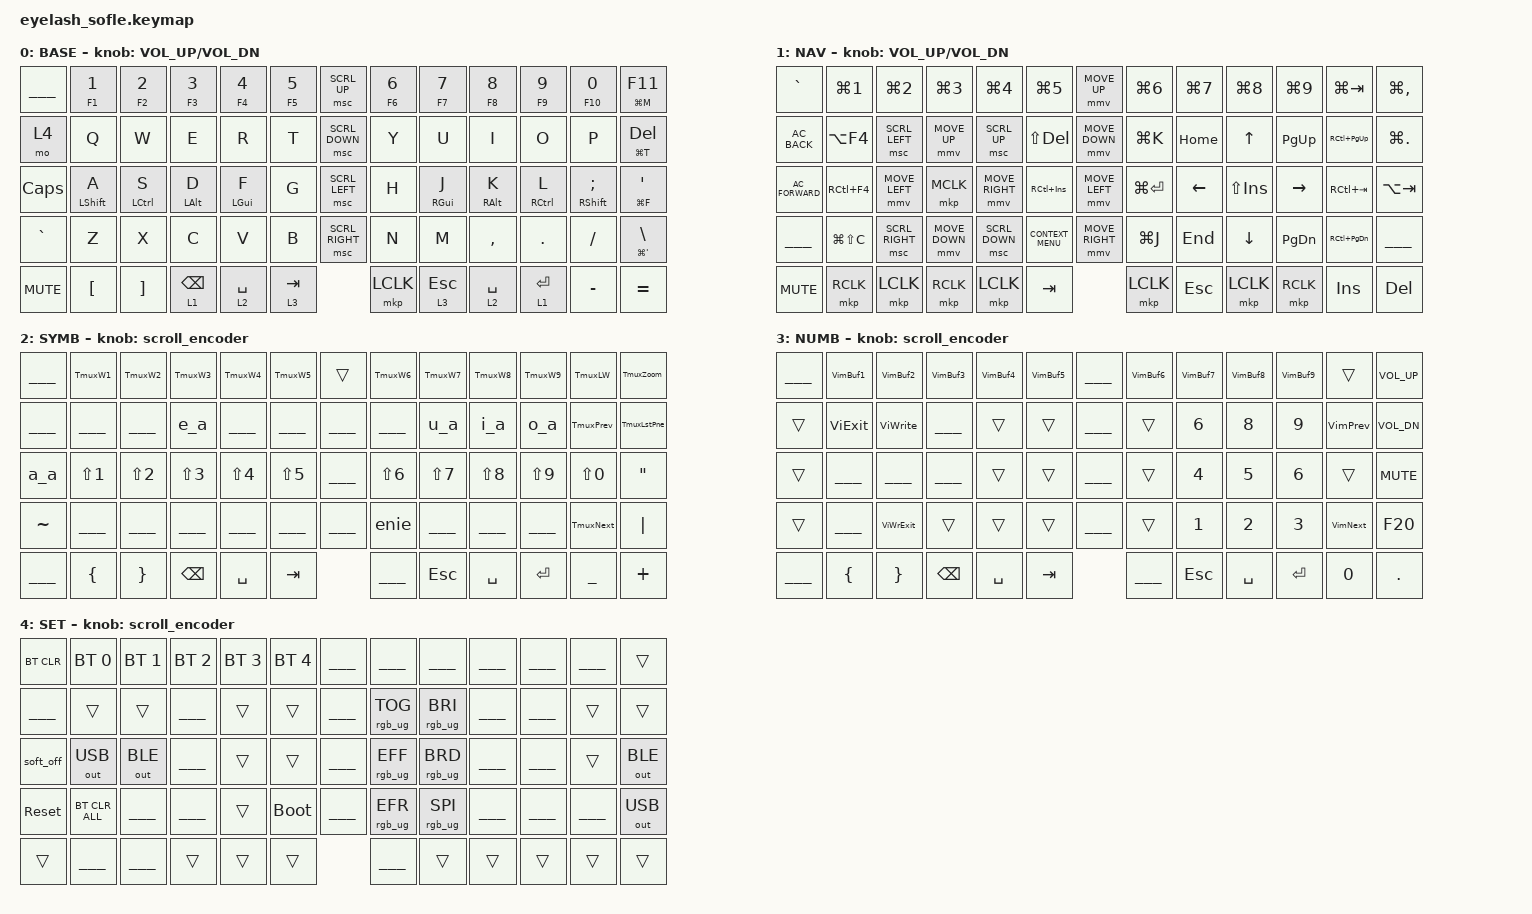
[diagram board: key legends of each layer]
#include <input/processors.dtsi>
#include <zephyr/dt-bindings/input/input-event-codes.h>
#include <behaviors.dtsi>
#include <dt-bindings/zmk/bt.h>
#include <dt-bindings/zmk/keys.h>
#include <dt-bindings/zmk/outputs.h>
#include <dt-bindings/zmk/pointing.h>
#include <dt-bindings/zmk/rgb.h>
// no estoy seguro de que sea correcto, pero lo agrego por si acaso:
#include <dt-bindings/zmk/ext_power.h>


// Para poner una tecla en la configuracion que no toma ninguna accion.
# define ___ none

// Mouse:
// Velocidad:
//#define ZMK_POINTING_DEFAULT_MOVE_VAL 1200  // 600
#define ZMK_POINTING_DEFAULT_MOVE_VAL 600
//#define ZMK_POINTING_DEFAULT_SCRL_VAL 25   // 10
#define ZMK_POINTING_DEFAULT_SCRL_VAL 10
&mmv_input_listener { input-processors = <&zip_xy_scaler 2 1>; };
&msc_input_listener { input-processors = <&zip_scroll_scaler 2 1>; };
&msc {
	acceleration-exponent = <1>;      // 0
	time-to-max-speed-ms = <100>;       // 300
	delay-ms = <0>;                   // 0
};
&mmv {
	time-to-max-speed-ms = <500>;
	acceleration-exponent = <1>;
	trigger-period-ms = <16>;
};

// Tiempo que debe mantenerse apreteada la tecla de soft_off para que apague el teclado: 2seg.
&soft_off { hold-time-ms = <2000>; };


/ {

	scroll_encoder: scroll_encoder {
		compatible = "zmk,behavior-sensor-rotate";
		#sensor-binding-cells = <0>;
		bindings = <&msc SCRL_DOWN>, <&msc SCRL_UP>;
		tap-ms = <100>;
	};

	behaviors {
	// https://zmk.dev/docs/keymaps/behaviors/hold-tap

		lt: layer_tap {
			compatible = "zmk,behavior-hold-tap";
			#binding-cells = <2>;
			flavor = "tap-preferred";
			tapping-term-ms = <200>;
			bindings = <&mo>, <&kp>;
			display-name = "Layer-Tap";
		};

		hm: homerow_mods {
			compatible = "zmk,behavior-hold-tap";
			#binding-cells = <2>;
			tapping-term-ms = <200>;
			quick-tap-ms = <0>;
			flavor = "balanced";
			bindings = <&kp>, <&kp>;
		};

		mt: mod_tap {
			compatible = "zmk,behavior-hold-tap";
			#binding-cells = <2>;
			flavor = "hold-preferred";
			tapping-term-ms = <200>;
			bindings = <&kp>, <&kp>;
			display-name = "Mod-Tap";
		};

		// hold and Tap (between Normal keys)
		ht: Hold_tap {
			compatible = "zmk,behavior-hold-tap";
			#binding-cells = <2>;
			flavor = "tap-preferred";
			tapping-term-ms = <200>;
			bindings = <&kp>, <&kp>;
		};
	};

	macros {

		TmuxW1: TmuxW1 {
			compatible = "zmk,behavior-macro";
			#binding-cells = <0>;
			bindings =
				<&macro_tap &kp LC(LA(A))>,
				<&macro_tap &kp N1>;
		};
		TmuxW2: TmuxW2 {
			compatible = "zmk,behavior-macro";
			#binding-cells = <0>;
			bindings =
				<&macro_tap &kp LC(LA(A))>,
				<&macro_tap &kp N2>;
		};
		TmuxW3: TmuxW3 {
			compatible = "zmk,behavior-macro";
			#binding-cells = <0>;
			bindings =
				<&macro_tap &kp LC(LA(A))>,
				<&macro_tap &kp N3>;
		};
		TmuxW4: TmuxW4 {
			compatible = "zmk,behavior-macro";
			#binding-cells = <0>;
			bindings =
				<&macro_tap &kp LC(LA(A))>,
				<&macro_tap &kp N4>;
		};
		TmuxW5: TmuxW5 {
			compatible = "zmk,behavior-macro";
			#binding-cells = <0>;
			bindings =
				<&macro_tap &kp LC(LA(A))>,
				<&macro_tap &kp N5>;
		};
		TmuxW6: TmuxW6 {
			compatible = "zmk,behavior-macro";
			#binding-cells = <0>;
			bindings =
				<&macro_tap &kp LC(LA(A))>,
				<&macro_tap &kp N6>;
		};
		TmuxW7: TmuxW7 {
			compatible = "zmk,behavior-macro";
			#binding-cells = <0>;
			bindings =
				<&macro_tap &kp LC(LA(A))>,
				<&macro_tap &kp N7>;
		};
		TmuxW8: TmuxW8 {
			compatible = "zmk,behavior-macro";
			#binding-cells = <0>;
			bindings =
				<&macro_tap &kp LC(LA(A))>,
				<&macro_tap &kp N8>;
		};
		TmuxW9: TmuxW9 {
			compatible = "zmk,behavior-macro";
			#binding-cells = <0>;
			bindings =
				<&macro_tap &kp LC(LA(A))>,
				<&macro_tap &kp N9>;
		};
		TmuxLW: TmuxLW {
			compatible = "zmk,behavior-macro";
			#binding-cells = <0>;
			bindings =
				<&macro_tap &kp LC(LA(A))>,
				<&macro_tap &kp LC(LA(A))>;
		};
		TmuxZoom: TmuxZoom {
			compatible = "zmk,behavior-macro";
			#binding-cells = <0>;
			bindings =
				<&macro_tap &kp LC(LA(A))>,
				<&macro_tap &kp Z>;
		};
		TmuxPrev: TmuxPrev {
			compatible = "zmk,behavior-macro";
			#binding-cells = <0>;
			bindings =
				<&macro_tap &kp LC(LA(A))>,
				<&macro_tap &kp P>;
		};
		TmuxNext: TmuxNext {
			compatible = "zmk,behavior-macro";
			#binding-cells = <0>;
			bindings =
				<&macro_tap &kp LC(LA(A))>,
				<&macro_tap &kp N>;
		};
		TmuxLstPne: TmuxLstPne {
			compatible = "zmk,behavior-macro";
			#binding-cells = <0>;
			bindings =
				<&macro_tap &kp LC(LA(A))>,
				<&macro_tap &kp SEMI>;
		};
		VimBuf1: VimBuf1 {
			compatible = "zmk,behavior-macro";
			#binding-cells = <0>;
			bindings =
				<&macro_tap &kp ESC>,
				<&macro_tap &kp COLON>,
				<&macro_tap &kp B>,
				<&macro_tap &kp N1>,
				<&macro_tap &kp ENTER>;
		};
		VimBuf2: VimBuf2 {
			compatible = "zmk,behavior-macro";
			#binding-cells = <0>;
			bindings =
				<&macro_tap &kp ESC>,
				<&macro_tap &kp COLON>,
				<&macro_tap &kp B>,
				<&macro_tap &kp N2>,
				<&macro_tap &kp ENTER>;
		};
		VimBuf3: VimBuf3 {
			compatible = "zmk,behavior-macro";
			#binding-cells = <0>;
			bindings =
				<&macro_tap &kp ESC>,
				<&macro_tap &kp COLON>,
				<&macro_tap &kp B>,
				<&macro_tap &kp N3>,
				<&macro_tap &kp ENTER>;
		};
		VimBuf4: VimBuf4 {
			compatible = "zmk,behavior-macro";
			#binding-cells = <0>;
			bindings =
				<&macro_tap &kp ESC>,
				<&macro_tap &kp COLON>,
				<&macro_tap &kp B>,
				<&macro_tap &kp N4>,
				<&macro_tap &kp ENTER>;
		};
		VimBuf5: VimBuf5 {
			compatible = "zmk,behavior-macro";
			#binding-cells = <0>;
			bindings =
				<&macro_tap &kp ESC>,
				<&macro_tap &kp COLON>,
				<&macro_tap &kp B>,
				<&macro_tap &kp N5>,
				<&macro_tap &kp ENTER>;
		};
		VimBuf6: VimBuf6 {
			compatible = "zmk,behavior-macro";
			#binding-cells = <0>;
			bindings =
				<&macro_tap &kp ESC>,
				<&macro_tap &kp COLON>,
				<&macro_tap &kp B>,
				<&macro_tap &kp N6>,
				<&macro_tap &kp ENTER>;
		};
		VimBuf7: VimBuf7 {
			compatible = "zmk,behavior-macro";
			#binding-cells = <0>;
			bindings =
				<&macro_tap &kp ESC>,
				<&macro_tap &kp COLON>,
				<&macro_tap &kp B>,
				<&macro_tap &kp N7>,
				<&macro_tap &kp ENTER>;
		};
		VimBuf8: VimBuf8 {
			compatible = "zmk,behavior-macro";
			#binding-cells = <0>;
			bindings =
				<&macro_tap &kp ESC>,
				<&macro_tap &kp COLON>,
				<&macro_tap &kp B>,
				<&macro_tap &kp N8>,
				<&macro_tap &kp ENTER>;
		};
		VimBuf9: VimBuf9 {
			compatible = "zmk,behavior-macro";
			#binding-cells = <0>;
			bindings =
				<&macro_tap &kp ESC>,
				<&macro_tap &kp COLON>,
				<&macro_tap &kp B>,
				<&macro_tap &kp N9>,
				<&macro_tap &kp ENTER>;
		};
		VimPrev: VimPrev {
			compatible = "zmk,behavior-macro";
			#binding-cells = <0>;
			bindings =
				<&macro_tap &kp ESC>,
				<&macro_tap &kp COLON>,
				<&macro_tap &kp B>,
				<&macro_tap &kp P>,
				<&macro_tap &kp ENTER>;
		};
		VimNext: VimNext {
			compatible = "zmk,behavior-macro";
			#binding-cells = <0>;
			bindings =
				<&macro_tap &kp ESC>,
				<&macro_tap &kp COLON>,
				<&macro_tap &kp B>,
				<&macro_tap &kp N>,
				<&macro_tap &kp ENTER>;
		};
		ViWrite: ViWrite {
			compatible = "zmk,behavior-macro";
			#binding-cells = <0>;
			bindings =
				<&macro_tap &kp ESC>,
				<&macro_tap &kp COLON>,
				<&macro_tap &kp U>,
				<&macro_tap &kp P>,
				<&macro_tap &kp ENTER>;
		};
		ViExit: ViExit {
			compatible = "zmk,behavior-macro";
			#binding-cells = <0>;
			bindings =
				<&macro_tap &kp ESC>,
				<&macro_tap &kp COLON>,
				<&macro_tap &kp Q>,
				<&macro_tap &kp EXCLAMATION>,
				<&macro_tap &kp ENTER>;
		};
		ViWrExit: ViWrExit {
			compatible = "zmk,behavior-macro";
			#binding-cells = <0>;
			bindings =
				<&macro_tap &kp ESC>,
				<&macro_tap &kp COLON>,
				<&macro_tap &kp W>,
				<&macro_tap &kp Q>,
				<&macro_tap &kp EXCLAMATION>,
				<&macro_tap &kp ENTER>;
		};
		enie: enie {
			compatible = "zmk,behavior-macro";
			#binding-cells = <0>;
			wait-ms = <10>;
			tap-ms = <10>;
			bindings =
				<&macro_press &kp LCTRL>,
				<&macro_press &kp LSHFT>,
				<&macro_tap &kp U>,
				<&macro_release &kp LSHFT>,
				<&macro_release &kp LCTRL>,
				<&macro_tap &kp N0>,
				<&macro_tap &kp N0>,
				<&macro_tap &kp F>,
				<&macro_tap &kp N1>,
				<&macro_tap &kp ENTER>;
		};
		a_a: a_a {
			compatible = "zmk,behavior-macro";
			#binding-cells = <0>;
			wait-ms = <10>;
			tap-ms = <10>;
			bindings =
				<&macro_press &kp LCTRL>,
				<&macro_press &kp LSHFT>,
				<&macro_tap &kp U>,
				<&macro_release &kp LSHFT>,
				<&macro_release &kp LCTRL>,
				<&macro_tap &kp N0>,
				<&macro_tap &kp N0>,
				<&macro_tap &kp E>,
				<&macro_tap &kp N1>,
				<&macro_tap &kp ENTER>;
		};
		e_a: e_a {
			compatible = "zmk,behavior-macro";
			#binding-cells = <0>;
			wait-ms = <10>;
			tap-ms = <10>;
			bindings =
				<&macro_press &kp LCTRL>,
				<&macro_press &kp LSHFT>,
				<&macro_tap &kp U>,
				<&macro_release &kp LSHFT>,
				<&macro_release &kp LCTRL>,
				<&macro_tap &kp N0>,
				<&macro_tap &kp N0>,
				<&macro_tap &kp E>,
				<&macro_tap &kp N9>,
				<&macro_tap &kp ENTER>;
		};
		i_a: i_a {
			compatible = "zmk,behavior-macro";
			#binding-cells = <0>;
			wait-ms = <10>;
			tap-ms = <10>;
			bindings =
				<&macro_press &kp LCTRL>,
				<&macro_press &kp LSHFT>,
				<&macro_tap &kp U>,
				<&macro_release &kp LSHFT>,
				<&macro_release &kp LCTRL>,
				<&macro_tap &kp N0>,
				<&macro_tap &kp N0>,
				<&macro_tap &kp E>,
				<&macro_tap &kp D>,
				<&macro_tap &kp ENTER>;
		};
		o_a: o_a {
			compatible = "zmk,behavior-macro";
			#binding-cells = <0>;
			wait-ms = <10>;
			tap-ms = <10>;
			bindings =
				<&macro_press &kp LCTRL>,
				<&macro_press &kp LSHFT>,
				<&macro_tap &kp U>,
				<&macro_release &kp LSHFT>,
				<&macro_release &kp LCTRL>,
				<&macro_tap &kp N0>,
				<&macro_tap &kp N0>,
				<&macro_tap &kp F>,
				<&macro_tap &kp N3>,
				<&macro_tap &kp ENTER>;
		};
		u_a: u_a {
			compatible = "zmk,behavior-macro";
			#binding-cells = <0>;
			wait-ms = <10>;
			tap-ms = <10>;
			bindings =
				<&macro_press &kp LCTRL>,
				<&macro_press &kp LSHFT>,
				<&macro_tap &kp U>,
				<&macro_release &kp LSHFT>,
				<&macro_release &kp LCTRL>,
				<&macro_tap &kp N0>,
				<&macro_tap &kp N0>,
				<&macro_tap &kp F>,
				<&macro_tap &kp A>,
				<&macro_tap &kp ENTER>;
		};
	};


	keymap {
		compatible = "zmk,keymap";

		// Qwerty Layer0:
		layer0 {
			bindings = <
			/* Pendientes Layer0:
			.--------.--------.--------.--------.--------.--------.                                    .--------.--------.--------.---------.--------.--------.
			| Vim_5  |        |        |        |        |        |                                    |        |        |        |         |        | F11    |
			|        |        |        |        |        |        |                                    |        |        |        |         |        |dwmFull | Este ya deberia estar.
			|--------+--------+--------+--------+--------+--------|                                    |--------+--------+--------+---------+--------+--------|
			|        |        |        |        |        |        |                                    |        |        |        |         |        | Del    | Este ya deberia estar.
			|        |        |        |        |        |        |                                    |        |        |        |         |        |dwmTiled|
			|--------+--------+--------+--------+--------+--------|                                    |--------+--------+--------+---------+--------+--------|
			|        |        |        |        |        |        |                                    |        |        |        |         |        | ' "    |
			|        |        |        |        |        |        |                                    |        |        |        |         |        |dwmFloat| Ya deberia estar.
			|--------+--------+--------+--------+--------+--------|                                    |--------+--------+--------+---------+--------+--------|
			|        |        |        |        |        |        |                                    |        |        |        |         |        | \ |    |este ya deberia estar.
			|        |        |        |        |        |        |                                    |        |        |        |         |        |dwmgap  |
			'--------'--------+--------+--------+--------'--------'                                    '--------'--------+--------+---------+--------'--------'
			|                 |        |        |.--------.--------.--------.                .--------.--------.--------.|        |         |
			|                 |        |        ||        |        |        |                |        |        |        ||        |         |
			|                 '--------'--------'|        |        |        |                |        |        |        |'--------'---------'
			|                                    '--------'--------'--------'                '--------'--------'--------' */

			// ╭─────────┬────────────┬────────────────┬─────────────────┬───────────────┬───────────╮             ╭───────────────╮       ╭───────────┬───────────┬──────────┬───────────┬───────────────┬─────────────────╮
				 &___      &ht F1 N1    &ht F2 N2        &ht F3 N3         &ht F4 N4       &ht F5 N5                 &msc SCRL_UP            &ht F6 N6   &ht F7 N7   &ht F8 N8  &ht F9 N9   &ht F10 N0      &ht LG(M) F11
			// ├─────────┼────────────┼────────────────┼─────────────────┼───────────────┼───────────┤             ├───────────────┤       ├───────────┼───────────┼──────────┼───────────┼───────────────┼─────────────────┤
				 &mo 4     &kp Q        &kp W            &kp E             &kp R           &kp T                     &msc SCRL_DOWN          &kp Y       &kp U       &kp I      &kp O       &kp P           &ht LG(T) DELETE
			// ├─────────┼────────────┼────────────────┼─────────────────┼───────────────┼───────────┤             ├───────────────┤       ├───────────┼───────────┼──────────┼───────────┼───────────────┼─────────────────┤
				 &kp CAPS  &hm LSHIFT A &hm LCTRL S      &hm LALT D        &hm LGUI F      &kp G                     &msc SCRL_LEFT          &kp H       &hm RGUI J  &hm RALT K &hm RCTRL L &hm RSHIFT SEMI &ht LG(F) APOS
			// ├─────────┼────────────┼────────────────┼─────────────────┼───────────────┼───────────┤             ├───────────────┤       ├───────────┼───────────┼──────────┼───────────┼───────────────┼─────────────────┤
				 &kp GRAVE &kp Z        &kp X            &kp C             &kp V           &kp B                     &msc SCRL_RIGHT         &kp N       &kp M       &kp COMMA  &kp DOT     &kp FSLH        &ht LG(APOS) BSLH
			// ╰┬────────┴─┬──────────┼────────────────┼─────────────────┼───────────────┼───────────┼─────────╮   ┼──────────╮╭───────────┼───────────┼───────────┼──────────┼───────────┼───────────────┼─────────────────╯
				  &kp C_MUTE            &kp LEFT_BRACKET &kp RIGHT_BRACKET &lt 1 BACKSPACE &lt 2 SPACE &lt 3 TAB     &mkp LCLK    &lt 3 ESC  &lt 2 SPACE &lt 1 ENTER &kp MINUS  &kp EQUAL
			//  ╰──────────╯          ╰────────────────┴─────────────────┴───────────────┴───────────┴─────────╯   ╰──────────╯╰───────────┴───────────┴───────────┴──────────┴───────────╯
			//  ENCODER PRESS                                                                                       HAT PRESS
			>;
			sensor-bindings = <&inc_dec_kp C_VOLUME_UP C_VOL_DN>;
			//display-name = "L0";
			display-name = "BASE";
		};

		// Navigation Layer1:
		layer_1 {
			bindings = <
			/* + _Navegation Layer1: Apps Navigation / dwm (verde) Pendientes:
			.-----------.-----------.-----------.-----------.-----------.-----------.                          .-----------.-----------.-----------.-----------.-----------.-----------.
			|           |           |           |           |           |           |                          |           |           |           |           |           |           |
			|-----------+-----------+-----------+-----------+-----------+-----------|                          |-----------+-----------+-----------+-----------+-----------+-----------|
			|           |           |           |           |           |           |                          |           |           |           |           |           |           |
			|-----------+-----------+-----------+-----------+-----------+-----------|                          |-----------+-----------+-----------+-----------+-----------+-----------|
			|           |           |           |           |           |           |                          |           |           |           |           |           |           |
			|-----------+-----------+-----------+-----------+-----------+-----------|                          |-----------+-----------+-----------+-----------+-----------+-----------|
			|           |           |           |           |           | Menu KC_app|ya deberia estar          |           |           |           |           |           |           |
			'-----------'-----------+-----------+-----------+-----------'-----------'                          '-----------'-----------+-----------+-----------+-----------'-----------'
			|                       |           |           |.-----------.-----------.--------.      .--------.-----------.-----------.|           |           |
			|                       |           |           ||           |           |        |      |        |           |           ||           |           |
			|                       '-----------'-----------'|           |           |        |      |        |           |           |'-----------'-----------'
			|                                                '-----------'-----------'--------'      '--------'-----------'-----------' */
			// Configuracion L1 Row 1
			// ╭────────────────┬─────────────┬───────────────┬──────────────┬───────────────┬──────────────────╮          ╭───────────────╮       ╭──────────────┬─────────────┬──────────────┬─────────────┬───────────────┬─────────────╮
				 &kp GRAVE        &kp LG(N1)    &kp LG(N2)      &kp LG(N3)     &kp LG(N4)      &kp LG(N5)                    &mmv MOVE_UP            &kp LG(N6)     &kp LG(N7)    &kp LG(N8)     &kp LG(N9)    &kp LG(TAB)     &kp LG(COMMA)
			// ├────────────────┼─────────────┼───────────────┼──────────────┼───────────────┼──────────────────┤          ├───────────────┤       ├──────────────┼─────────────┼──────────────┼─────────────┼───────────────┼─────────────┤
				 &kp C_AC_BACK    &kp LA(F4)    &msc SCRL_LEFT  &mmv MOVE_UP   &msc SCRL_UP    &kp LS(DELETE)                &mmv MOVE_DOWN          &kp LG(K)      &kp HOME      &kp UP         &kp PG_UP     &kp RC(PG_UP)   &kp LG(DOT)
			// ├────────────────┼─────────────┼───────────────┼──────────────┼───────────────┼──────────────────┤          ├───────────────┤       ├──────────────┼─────────────┼──────────────┼─────────────┼───────────────┼─────────────┤
				 &kp C_AC_FORWARD &kp RC(F4)    &mmv MOVE_LEFT  &mkp MCLK      &mmv MOVE_RIGHT &kp RC(INSERT)                &mmv MOVE_LEFT          &kp LG(ENTER)  &kp LEFT      &kp LS(INSERT) &kp RIGHT     &kp RC(TAB)     &kp LA(TAB)
			// ├────────────────┼─────────────┼───────────────┼──────────────┼───────────────┼──────────────────┤          ├───────────────┤       ├──────────────┼─────────────┼──────────────┼─────────────┼───────────────┼─────────────┤
				 &___             &kp LG(LS(C)) &msc SCRL_RIGHT &mmv MOVE_DOWN &msc SCRL_DOWN  &kp K_CONTEXT_MENU            &mmv MOVE_RIGHT         &kp LG(J)      &kp END       &kp DOWN       &kp PG_DN     &kp RC(PG_DN)   &___
			// ╰┬─────────────┬─┴─────────────┼───────────────┼──────────────┼───────────────┼──────────────────┼───────╮  ┼──────────╮╭───┴───────┼──────────────┼─────────────┼──────────────┼─────────────┼───────────────┼─────────────╯
				  &kp C_MUTE                    &mkp RCLK       &mkp LCLK      &mkp RCLK       &mkp LCLK          &kp TAB    &mkp LCLK   &kp ESCAPE  &mkp LCLK      &mkp RCLK        &kp INSERT     &kp DELETE
			//  ╰──────────╯                  ╰───────────────┴──────────────┴───────────────┴──────────────────┴───────╯  ╰──────────╯╰───────────┴──────────────┴─────────────┴──────────────┴─────────────╯
			//  ENCODER PRESS                                                                                              HAT PRESS
			>;
			//display-name = "L1";
			display-name = "NAV";
			sensor-bindings = <&inc_dec_kp C_VOLUME_UP C_VOL_DN>;
		};


		// Layer2 Simbolos
		layer_2 {
			bindings = <
			/* + _Symb Layer2: Simbolos / Tmux: (rojo) Pendientes:
			.-------.--------.--------.--------.--------.--------.                               .--------.--------.--------.--------.--------.--------.
			|       |+TmuxW1 |+TmuxW2 |+TmuxW3 |+TmuxW4 |+TmuxW5 |                               |+TmuxW6 |+TmuxW7 |+TmuxW8 |+TmuxW9 |+TmuxLW |+TmuxZoom| ya deberian estar.
			|-------+--------+--------+--------+--------+--------|                               |--------+--------+--------+--------+--------+--------|
			|       |        |        |        |        |        |                               |        |        |        |        |+TmuxPrev|+TmuxLstPne| ya deberia estar.
			|-------+--------+--------+--------+--------+--------|                               |--------+--------+--------+--------+--------+--------|
			|       |        |        |        |        |        |                               |        |        |        |        |        |        |
			|-------+--------+--------+--------+--------+--------|                               |--------+--------+--------+--------+--------+--------|
			|       |        |        |        |        |        |                               |        |        |        |        |+TmuxNext|        | ya deberia estar.
			'-------'--------+--------+--------+--------'--------'                               '--------'--------+--------+--------+--------'--------'
			|                |        |        |.--------.--------.--------.           .--------.--------.--------.|        |        |
			|                |        |        ||        |        |        |           |        |        |        ||        |        |
			|                '--------'--------'|        |        |        |           |        |        |        |'--------'--------'
			|                                   '--------'--------'--------'           '--------'--------'--------' */
			// ╭─────────┬────────────┬──────────────┬────────────┬─────────────┬───────────╮            ╭───────────────╮   ╭───────────┬───────────┬───────────┬───────────┬───────────┬─────────────────╮
			    &___      &TmuxW1      &TmuxW2        &TmuxW3      &TmuxW4       &TmuxW5                  &trans              &TmuxW6     &TmuxW7     &TmuxW8     &TmuxW9     &TmuxLW     &TmuxZoom
			// ├─────────┼────────────┼──────────────┼────────────┼─────────────┼───────────┤            ├───────────────┤   ├───────────┼───────────┼───────────┼───────────┼───────────┼─────────────────┤
				 &___      &___         &___           &e_a         &___          &___                     &___                &___        &u_a        &i_a        &o_a        &TmuxPrev   &TmuxLstPne
			// ├─────────┼────────────┼──────────────┼────────────┼─────────────┼───────────┤            ├───────────────┤   ├───────────┼───────────┼───────────┼───────────┼───────────┼─────────────────┤
				 &a_a      &kp LS(N1)   &kp LS(N2)     &kp LS(N3)   &kp LS(N4)    &kp LS(N5)               &___                &kp LS(N6)  &kp LS(N7)  &kp LS(N8)  &kp LS(N9)  &kp LS(N0)  &kp DOUBLE_QUOTES
			// ├─────────┼────────────┼──────────────┼────────────┼─────────────┼───────────┤            ├───────────────┤   ├───────────┼───────────┼───────────┼───────────┼───────────┼─────────────────┤
				 &kp TILDE &___         &___           &___         &___          &___                     &___                &enie			&___        &___        &___        &TmuxNext      &kp PIPE
			// ╰┬────────┼────────────┼──────────────┼────────────┼─────────────┼───────────┼────────╮   ┼──────────╮╭───┴───┼───────────┼───────────┼───────────┼───────────┼───────────┴─────────────────╯
				  &___                  &kp LBRC       &kp RBRC     &kp BACKSPACE &kp SPACE   &kp TAB      &___        &kp ESC &kp SPACE   &kp ENTER   &kp UNDER   &kp PLUS
			//  ╰────────╯            ╰──────────────┴────────────┴─────────────┴───────────┴────────╯   ╰──────────╯╰───────┴───────────┴───────────┴───────────┴───────────╯
			//  ENCODER PRESS                                                                                  HAT PRESS
			>;
			display-name = "SYMB";
			sensor-bindings = <&scroll_encoder>;
		};


		// Layer3 NumPad vim
		layer_3 {
			bindings = <
			/* + Layer: Appl Shortcuts Vim / Numeric Pad (celeste)
			.----------.----------.----------.----------.----------.----------.                           .----------.----------.----------.----------.----------.----------.
			|          | +VimBuf1 | +VimBuf2 | +VimBuf3 | +VimBuf4 | +VimBuf5 |                           | +VimBuf6 | +VimBuf7 | +VimBuf8 | +VimBuf9 | VimListBf|          |
			|          |          |          |          |          |          |                           |          |          |          |          | <c-l>    |          |
			|----------+----------+----------+----------+----------+----------|                           |----------+----------+----------+----------+----------+----------|
			| ViTabSpc |-ViExit   |-ViWrite  |          | Virt App | Terminal |                           | Calc     |          |          |          | +VimPrev |          |
			| ExpandTab| Esc :q!  | Esc :up  |          |          |          |                           |          |          |          |          |          |          |
			|----------+----------+----------+----------+----------+----------|                           |----------+----------+----------+----------+----------+----------|
			|ReadlineVi|          |          |          | Offi Vim | Offi WBrw|                           | ViList   |          |          |          | ViCln    |          |
			|Screenrc  |          |          |          |          |          |                           | :set list|          |          |          | Esc :    |          |
			|----------+----------+----------+----------+----------+----------|                           |----------+----------+----------+----------+----------+----------|
			| SetOVi   |          |-ViWrExit | ClipPad  | My Vim   | My WBrw  |                           | ViNoH    |          |          |          | +VimNext |          |
			| set -o vi|          | Esc :x!  |          |          |          |                           | Esc :noh |          |          |          |          |          |
			'----------'----------+----------+----------+----------'----------'                           '----------'----------+----------+----------+----------'----------'
			|                     |          |          |.----------.----------.---------.     .---------.----------.----------.|          |          |
			|                     |          |          ||          |          |         |     |         |          |          ||          |          |
			|                     '----------'----------'|          |          |         |     |         |          |          |'----------'----------'
			|                                            '----------'----------'---------'     '---------'----------'----------' */
			// ╭─────────┬────────────┬──────────────┬────────────┬─────────────┬─────────╮            ╭───────────────╮   ╭─────────┬─────────┬─────────┬─────────┬───────────┬───────────────╮
				 &___      &VimBuf1     &VimBuf2       &VimBuf3     &VimBuf4      &VimBuf5               &___                &VimBuf6  &VimBuf7  &VimBuf8  &VimBuf9  &trans      &kp C_VOL_UP
			// ├─────────┼────────────┼──────────────┼────────────┼─────────────┼─────────┤            ├───────────────┤   ├─────────┼─────────┼─────────┼─────────┼───────────┼───────────────┤
				 &trans    &ViExit       &ViWrite      &___         &trans        &trans                 &___                &trans    &kp N6    &kp N8    &kp N9    &VimPrev    &kp C_VOL_DN
			// ├─────────┼────────────┼──────────────┼────────────┼─────────────┼─────────┤            ├───────────────┤   ├─────────┼─────────┼─────────┼─────────┼───────────┼───────────────┤
				 &trans    &___         &___           &___         &trans        &trans                 &___                &trans    &kp N4    &kp N5    &kp N6    &trans      &kp C_MUTE
			// ├─────────┼────────────┼──────────────┼────────────┼─────────────┼─────────┤            ├───────────────┤   ├─────────┼─────────┼─────────┼─────────┼───────────┼───────────────┤
				 &trans    &___         &ViWrExit      &trans       &trans        &trans                 &___                &trans    &kp N1    &kp N2    &kp N3    &VimNext    &kp F20	//XF86AudioMicMute
			// ╰┬────────┼────────────┼──────────────┼────────────┼─────────────┼─────────┼────────╮   ┼──────────╮╭───┴───┼─────────┼─────────┼─────────┼─────────┼───────────┴───────────────╯
				  &___                  &kp LBRC       &kp RBRC     &kp BACKSPACE &kp SPACE &kp TAB      &___        &kp ESC &kp SPACE &kp ENTER &kp N0    &kp DOT
			//  ╰────────╯            ╰──────────────┴────────────┴─────────────┴─────────┴────────╯   ╰──────────╯╰───────┴─────────┴─────────┴─────────┴─────────╯
			//  ENCODER PRESS                                                                                  HAT PRESS
			>;
			display-name = "NUMB";
			sensor-bindings = <&scroll_encoder>;
		};

		// Setup Layer
		layer_4 {
			bindings = <
			/*
			.-----------.-----------.-----------.-----------.-----------.-----------.                                  .-----------.-----------.-----------.-----------.-----------.-----------.
			| BT_Clear  | BT_1      | BT_2      | BT_3      | BT_4      | BT_5      |                                  |           |           |           |           |           | BT Mngr   |
			|-----------+-----------+-----------+-----------+-----------+-----------|                                  |-----------+-----------+-----------+-----------+-----------+-----------|
			|           | Sleep     | ScrLock   |           | Moni BrDn | Moni BrUp |                                  | RgbTogle  |RgbBriUp   |           |           | Print Scr | NMEditor  |
			|-----------+-----------+-----------+-----------+-----------+-----------|                                  |-----------+-----------+-----------+-----------+-----------+-----------|
			| SoftOff   | OutUSB    | OutBle    |           | Note BrDn | Note BrUp |                                  | RgbEfectUp|RgbBriDn   |           |           | Print Wind| guvcview  |
			|-----------+-----------+-----------+-----------+-----------+-----------|                                  |-----------+-----------+-----------+-----------+-----------+-----------|
			| SysReset  |BT_Clear_All |         |           |           | RloadHkey | BootLoader|                                  | RgbEfectDn|RgbSPI     |           |           |           | Audio Ctrl|
			'-----------'-----------+-----------+-----------+-----------'-----------'                                  '-----------'-----------+-----------+-----------+-----------'-----------'
			|                       |           |           |.------------------------------------.      .------------.-----------------------.| Windows   | Linux     | Windows/Linux Mode, para cambiar el set de linux a windows.
			|                       |           |           || Nav       | Symb      | NumPad     |      | NumPad     | Symb      | Nav       ||           |           |
			|                       '-----------'-----------'|           |           |            |      |            |           |           |'-----------'-----------'
			|                                                '-----------'-----------'------------'      '------------'-----------'-----------' */
			// ╭──────────────┬──────────────┬──────────────┬────────────┬────────────┬────────────╮                 ╭───────────────╮  ╭───────────────┬───────────────┬──────────┬──────────┬───────────┬──────────╮
				 &bt BT_CLR     &bt BT_SEL 0   &bt BT_SEL 1   &bt BT_SEL 2 &bt BT_SEL 3 &bt BT_SEL 4                   &___               &___            &___            &___       &___       &___        &trans
			// ├──────────────┼──────────────┼──────────────┼────────────┼────────────┼────────────┤                 ├───────────────┤  ├───────────────┼───────────────┼──────────┼──────────┼───────────┼──────────┤
				 &___           &trans         &trans         &___         &trans       &trans                         &___               &rgb_ug RGB_TOG &rgb_ug RGB_BRI &___       &___       &trans      &trans
			// ├──────────────┼──────────────┼──────────────┼────────────┼────────────┼────────────┤                 ├───────────────┤  ├───────────────┼───────────────┼──────────┼──────────┼───────────┼──────────┤
				 &soft_off      &out OUT_USB   &out OUT_BLE   &___         &trans       &trans                         &___               &rgb_ug RGB_EFF &rgb_ug RGB_BRD &___       &___       &trans      &out OUT_BLE
			// ├──────────────┼──────────────┼──────────────┼────────────┼────────────┼────────────┤                 ├───────────────┤  ├───────────────┼───────────────┼──────────┼──────────┼───────────┼──────────┤
				 &sys_reset     &bt BT_CLR_ALL &___           &___         &trans       &bootloader                    &___               &rgb_ug RGB_EFR &rgb_ug RGB_SPI &___       &___       &___        &out OUT_USB
			// ╰┬─────────────┼──────────────┼──────────────┼────────────┼────────────┼────────────┼─────────────╮   ┼──────────╮╭───┴──┼───────────────┼───────────────┼──────────┼──────────┼───────────┼──────────┼
				  &trans                       &___           &___         &trans       &trans       &trans            &___        &trans &trans          &trans          &trans     &trans
			//  ╰────────╯                   ╰──────────────┴────────────┴────────────┴────────────┴─────────────╯   ╰──────────╯╰──────┴───────────────┴───────────────┴──────────┴──────────╯
			//  ENCODER PRESS                                                                                       HAT PRESS
			>;
			display-name = "SET";
			sensor-bindings = <&scroll_encoder>;
		};
	};
};
